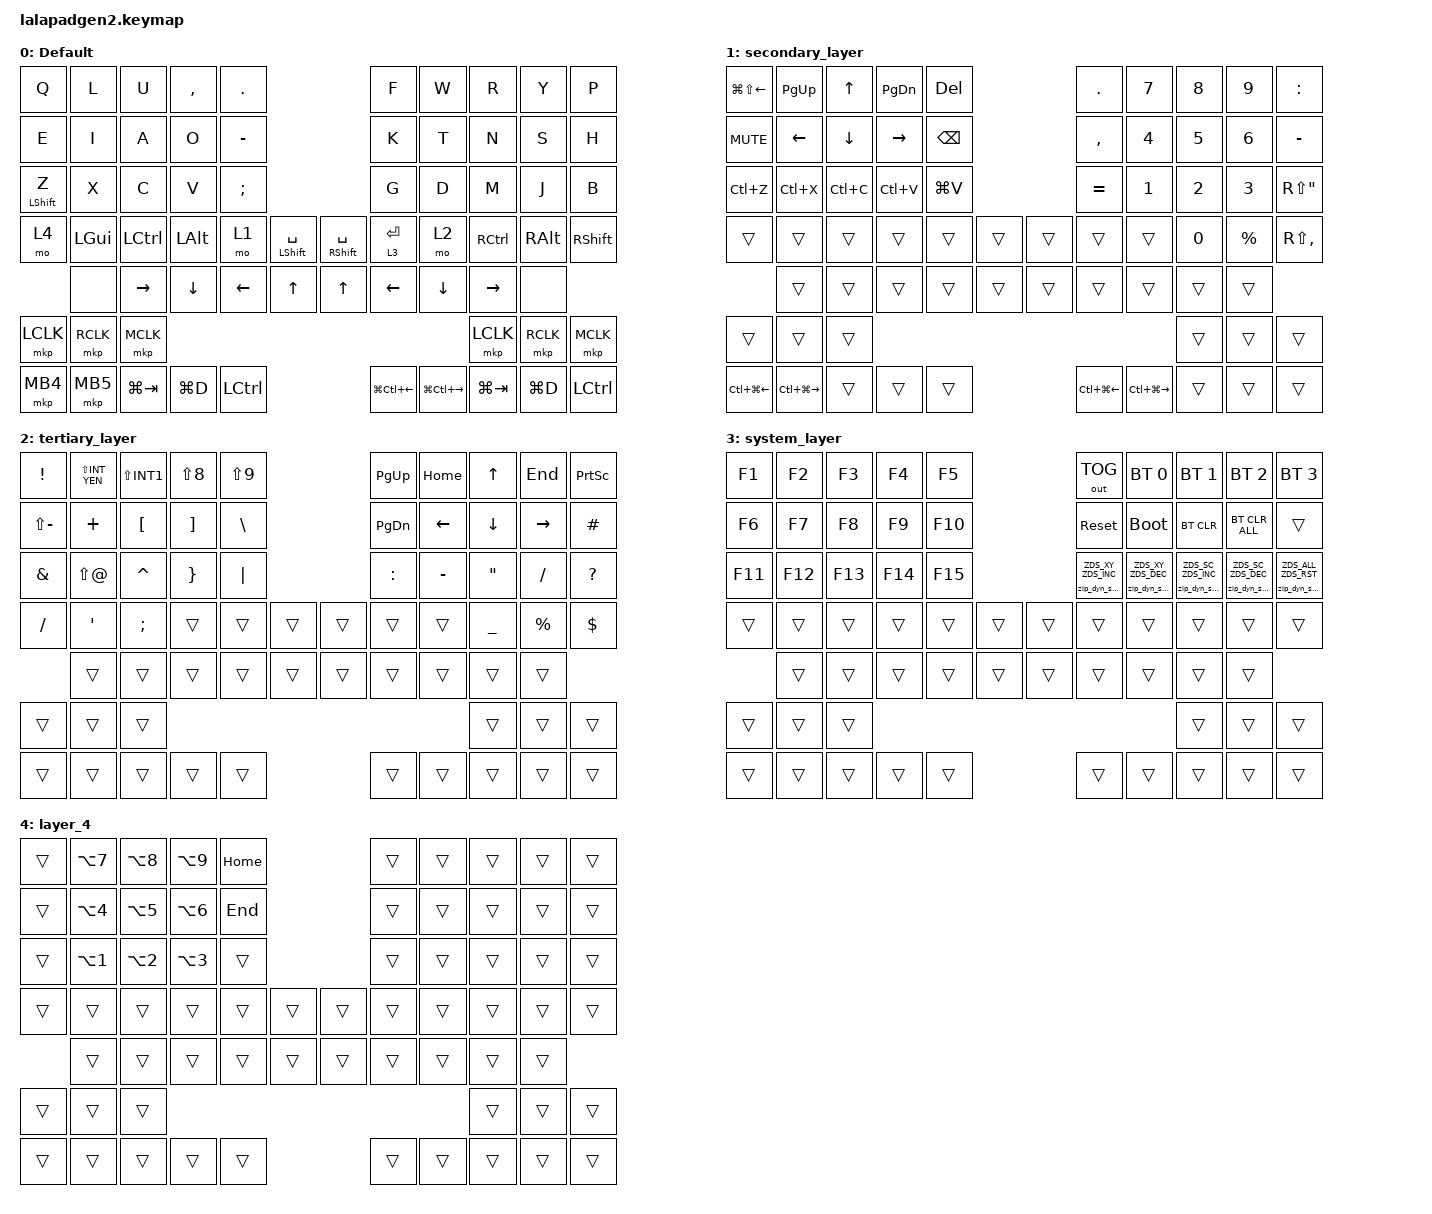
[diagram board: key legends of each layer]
#include <input/processors.dtsi>
#include <dt-bindings/zmk/zip_dynamic_scale.h>
#include <behaviors.dtsi>
#include <dt-bindings/zmk/bt.h>
#include <dt-bindings/zmk/keys.h>
#include <dt-bindings/zmk/outputs.h>
#include <dt-bindings/zmk/pointing.h>

#define DEFAULT_LAYER   0
#define SECONDARY_LAYER 1
#define TERTIARY_LAYER  2
#define SYSTEM_LAYER    3

&mt { quick-tap-ms = <200>; };

&lt { quick-tap-ms = <200>; };

/ {
    behaviors {
        zip_dyn_scale: zip_dyn_scale {
            compatible = "zmk,behavior-zip-dynamic-scale";
            #binding-cells = <2>;
        };

        zip_dyn_scale_set: zip_dyn_scale_set {
            compatible = "zmk,behavior-zip-dynamic-scale-set";
            #binding-cells = <2>;
        };

        mt2: mod_tap2 {
            compatible = "zmk,behavior-hold-tap";
            #binding-cells = <2>;
            flavor = "tap-preferred";
            tapping-term-ms = <200>;
            quick-tap-ms = <200>;
            require-prior-idle-ms = <125>;
            bindings = <&kp>, <&kp>;
        };

        tap_dance_layer_1and2: tap_dance_layer_1and2 {
            compatible = "zmk,behavior-tap-dance";
            label = "td_mo12";
            #binding-cells = <0>;
            bindings = <&mo 1>, <&mo 2>;
        };
    };

    combos {
        compatible = "zmk,combos";

        CONBO_ESC {
            bindings = <&kp ESCAPE>;
            key-positions = <0 1>;
        };

        COMBO_TAB {
            bindings = <&kp TAB>;
            key-positions = <10 11>;
        };

        COMBO_BS {
            bindings = <&kp BACKSPACE>;
            key-positions = <13 14>;
            timeout-ms = <40>;
            layers = <0>;
        };

        COMBO_DE {
            bindings = <&kp DELETE>;
            key-positions = <15 16>;
            timeout-ms = <40>;
            layers = <0>;
        };

        COMBO_Ln1 {
            bindings = <&kp LANG1>;
            key-positions = <16 17>;
            timeout-ms = <40>;
            layers = <0>;
        };

        COMBO_Ln2 {
            bindings = <&kp LANG2>;
            key-positions = <13 12>;
        };

        COMBO_ALTTab {
            bindings = <&kp TAB>;
            key-positions = <1 2>;
        };

        COMBO_ShiftTab {
            bindings = <&kp LS(TAB)>;
            key-positions = <2 3>;
        };
    };

    keymap {
        compatible = "zmk,keymap";

        DEFAULT_LAYER {
            display-name = "Default";
            bindings = <
&kp Q             &kp L         &kp U        &kp COMMA     &kp PERIOD                                                  &kp F                   &kp W                    &kp R              &kp Y          &kp P
&kp E             &kp I         &kp A        &kp O         &kp MINUS                                                   &kp K                   &kp T                    &kp N              &kp S          &kp H
&mt LEFT_SHIFT Z  &kp X         &kp C        &kp V         &kp SEMICOLON                                               &kp G                   &kp D                    &kp M              &kp J          &kp B
&mo 4             &kp LEFT_GUI  &kp LCTRL    &kp LEFT_ALT  &mo 1          &mt LEFT_SHIFT SPACE  &mt RIGHT_SHIFT SPACE  &lt 3 ENTER             &mo 2                    &kp RIGHT_CONTROL  &kp RIGHT_ALT  &kp RIGHT_SHIFT
                  &none         &kp RIGHT    &kp DOWN      &kp LEFT       &kp UP                &kp UP                 &kp LEFT                &kp DOWN                 &kp RIGHT          &none
&mkp LCLK         &mkp RCLK     &mkp MCLK                                                                                                                               &mkp LCLK          &mkp RCLK      &mkp MCLK
&mkp MB4          &mkp MB5      &kp LG(TAB)  &kp LG(D)     &kp LCTRL                                                   &kp LG(LC(LEFT_ARROW))  &kp LG(LC(RIGHT_ARROW))  &kp LG(TAB)        &kp LG(D)      &kp LCTRL
            >;
        };

        SECONDARY_LAYER {
            display-name = "secondary_layer";
            bindings = <
&kp LG(LS(LEFT_ARROW))  &kp PAGE_UP        &kp UP     &kp PAGE_DOWN  &kp DELETE                     &kp PERIOD        &kp N7             &kp N8  &kp N9     &kp COLON
&kp K_MUTE              &kp LEFT           &kp DOWN   &kp RIGHT      &kp BACKSPACE                  &kp COMMA         &kp N4             &kp N5  &kp N6     &kp MINUS
&kp LC(Z)               &kp LC(X)          &kp LC(C)  &kp LC(V)      &kp LG(V)                      &kp EQUAL         &kp N1             &kp N2  &kp N3     &kp RS(DOUBLE_QUOTES)
&trans                  &trans             &trans     &trans         &trans         &trans  &trans  &trans            &trans             &kp N0  &kp PRCNT  &kp RS(COMMA)
                        &trans             &trans     &trans         &trans         &trans  &trans  &trans            &trans             &trans  &trans
&trans                  &trans             &trans                                                                                        &trans  &trans     &trans
&kp LC(LG(LEFT))        &kp LC(LG(RIGHT))  &trans     &trans         &trans                         &kp LC(LG(LEFT))  &kp LC(LG(RIGHT))  &trans  &trans     &trans
            >;
        };

        TERTIARY_LAYER {
            display-name = "tertiary_layer";
            bindings = <
&kp EXCL       &kp LS(INT_YEN)   &kp LS(INT1)      &kp LS(N8)       &kp LS(N9)                     &kp PAGE_UP    &kp HOME   &kp UP_ARROW    &kp END      &kp PRINTSCREEN
&kp LS(MINUS)  &kp PLUS          &kp LEFT_BRACKET  &kp RBKT         &kp BACKSLASH                  &kp PAGE_DOWN  &kp LEFT   &kp DOWN_ARROW  &kp RIGHT    &kp HASH
&kp AMPERSAND  &kp LS(AT_SIGN)   &kp CARET         &kp RIGHT_BRACE  &kp PIPE                       &kp COLON      &kp MINUS  &kp DQT         &kp SLASH    &kp QUESTION
&kp SLASH      &kp SINGLE_QUOTE  &kp SEMICOLON     &trans           &trans         &trans  &trans  &trans         &trans     &kp UNDER       &kp PERCENT  &kp DOLLAR
               &trans            &trans            &trans           &trans         &trans  &trans  &trans         &trans     &trans          &trans
&trans         &trans            &trans                                                                                      &trans          &trans       &trans
&trans         &trans            &trans            &trans           &trans                         &trans         &trans     &trans          &trans       &trans
            >;
        };

        SYSTEM_LAYER {
            display-name = "system_layer";
            bindings = <
&kp F1   &kp F2   &kp F3   &kp F4   &kp F5                   &out OUT_TOG                   &bt BT_SEL 0                   &bt BT_SEL 1                   &bt BT_SEL 2                   &bt BT_SEL 3
&kp F6   &kp F7   &kp F8   &kp F9   &kp F10                  &sys_reset                     &bootloader                    &bt BT_CLR                     &bt BT_CLR_ALL                 &trans
&kp F11  &kp F12  &kp F13  &kp F14  &kp F15                  &zip_dyn_scale ZDS_XY ZDS_INC  &zip_dyn_scale ZDS_XY ZDS_DEC  &zip_dyn_scale ZDS_SC ZDS_INC  &zip_dyn_scale ZDS_SC ZDS_DEC  &zip_dyn_scale ZDS_ALL ZDS_RST
&trans   &trans   &trans   &trans   &trans   &trans  &trans  &trans                         &trans                         &trans                         &trans                         &trans
         &trans   &trans   &trans   &trans   &trans  &trans  &trans                         &trans                         &trans                         &trans
&trans   &trans   &trans                                                                                                   &trans                         &trans                         &trans
&trans   &trans   &trans   &trans   &trans                   &trans                         &trans                         &trans                         &trans                         &trans
            >;
        };

        layer_4 {
            bindings = <
&trans  &kp LA(N7)  &kp LA(N8)  &kp LA(N9)  &kp HOME                  &trans  &trans  &trans  &trans  &trans
&trans  &kp LA(N4)  &kp LA(N5)  &kp LA(N6)  &kp END                   &trans  &trans  &trans  &trans  &trans
&trans  &kp LA(N1)  &kp LA(N2)  &kp LA(N3)  &trans                    &trans  &trans  &trans  &trans  &trans
&trans  &trans      &trans      &trans      &trans    &trans  &trans  &trans  &trans  &trans  &trans  &trans
        &trans      &trans      &trans      &trans    &trans  &trans  &trans  &trans  &trans  &trans
&trans  &trans      &trans                                                            &trans  &trans  &trans
&trans  &trans      &trans      &trans      &trans                    &trans  &trans  &trans  &trans  &trans
            >;
        };
    };

    conditional_layers {
        compatible = "zmk,conditional-layers";

        Cond_Syslayer {
            if-layers = <1 2>;
            then-layer = <3>;
        };
    };
};
